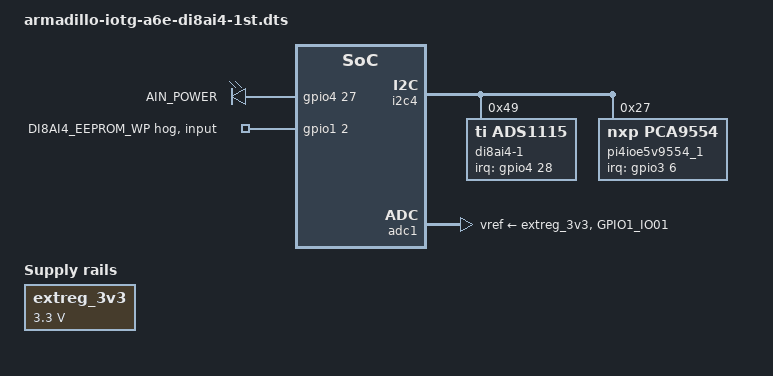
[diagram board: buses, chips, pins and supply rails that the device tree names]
// SPDX-License-Identifier: (GPL-2.0 OR MIT)
/*
 * Copyright (C) 2023 Atmark Techno, Inc. All Rights Reserved.
 */

/dts-v1/;
/plugin/;

#include "imx6ull-pinfunc.h"
#include <dt-bindings/interrupt-controller/irq.h>
#include <dt-bindings/gpio/gpio.h>

&{/} {
	aliases {
		/* Aliases are represented by a string to a full node path.
		 * For overlays, specifying &adc2 will incorrectly result in a path
		 * within a fragment, which is not fixed at apply time.
		 * Specify the full path of the merged node directly.
		 */
		gpio6 = "/soc/bus@2100000/i2c@21f8000/gpio@27";
		iio1 = "/soc/bus@2100000/i2c@21f8000/adc@49";
	};

	regulators {
		compatible = "simple-bus";
		#address-cells = <1>;
		#size-cells = <0>;

		extreg_3v3: ext-regulator-3v3 {
				compatible = "regulator-fixed";
				regulator-name = "3V3";
				regulator-min-microvolt = <3300000>;
				regulator-max-microvolt = <3300000>;
				regulator-always-on;
		};
	};

	ain-leds {
		compatible = "gpio-leds";
		pinctrl-names = "default";
		pinctrl-0 = <&pinctrl_gpio_leds_ain>;

		ain_power {
			label = "AIN_POWER";
			gpios = <&gpio4 27 GPIO_ACTIVE_HIGH>;
			retain-state-shutdown;
			retain-state-suspended;
			default-state = "on";
		};

	};
};

&i2c4 {
	#address-cells = <1>;
	#size-cells = <0>;

	adc2: adc@49 {
		compatible = "ti,ads1115";
		reg = <0x49>;
		label = "di8ai4-1";

		#address-cells = <1>;
		#size-cells = <0>;

		#io-channel-cells = <1>;

		pinctrl-names = "default";
		pinctrl-0 = <&pinctrl_adc2>;

		interrupt-parent = <&gpio4>;
		interrupts = <28 IRQ_TYPE_LEVEL_LOW>;

		wakeup-source;

		channel@4 {
			reg = <4>;
			ti,gain = <0>;
			ti,datarate = <4>;
		};

		channel@5 {
			reg = <5>;
			ti,gain = <0>;
			ti,datarate = <4>;
		};

		channel@6 {
			reg = <6>;
			ti,gain = <0>;
			ti,datarate = <4>;
		};

		channel@7 {
			reg = <7>;
			ti,gain = <0>;
			ti,datarate = <4>;
		};
	};

	pi4ioe5v9554_1: gpio@27 {
		pinctrl-names = "default";
		pinctrl-0 = <&pinctrl_pi4ioe5v9554_1>;

		compatible = "nxp,pca9554";
		reg = <0x27>;

		gpio-controller;
		#gpio-cells = <2>;

		interrupt-parent = <&gpio3>;
		interrupts = <6 IRQ_TYPE_LEVEL_LOW>;

		wakeup-source;
	};
};

&adc1 {
	label = "vin-di8ai4";
	pinctrl-names = "default";
	pinctrl-0 = <&pinctrl_adc1_vin>;
	vref-supply = <&extreg_3v3>;
	num-channels = <5>;
	status = "okay";
};

&gpio1 {
	di8ai4_eeprom_wp {
		pinctrl-names = "default";
		pinctrl-0 = <&pinctrl_di8ai4_eeprom_wp>;

		gpio-hog;
		gpios = <2 GPIO_ACTIVE_HIGH>;
		line-name = "DI8AI4_EEPROM_WP";
		input-low;
	};
};

&iomuxc {
	pinctrl_adc1_vin: adc1_vingrp {
		fsl,pins = <
			MX6UL_PAD_GPIO1_IO01__GPIO1_IO01	0xb0 /* VIN_MONITOR */
		>;
	};

	pinctrl_adc2: adc2grp {
		fsl,pins = <
			MX6UL_PAD_CSI_DATA07__GPIO4_IO28	0x1b0b0 /* ADC_INT */
		>;
	};

	pinctrl_pi4ioe5v9554_1: pi4ioe5v9554_1grp {
		fsl,pins = <
			MX6UL_PAD_LCD_DATA01__GPIO3_IO06	0x1b0b0 /* 9554 INT */
		>;
	};

	pinctrl_gpio_leds_ain: gpio_leds_aingrp {
		fsl,pins = <
			MX6UL_PAD_CSI_DATA06__GPIO4_IO27	0x10	/* AIN_POWER */
		>;
	};

	pinctrl_di8ai4_eeprom_wp: di8ai4_eeprom_wpgrp {
		fsl,pins = <
			MX6UL_PAD_GPIO1_IO02__GPIO1_IO02	0x10	/* AIDI_EEPROM_WP */
		>;
	};
};

&pi4ioe5v9554_1 {
	gpio-line-names =
		/* PI4IOE5V9554_1_00 - 03 */ "DI3", "DI4", "DI5", "DI6",
		/* PI4IOE5V9554_1_04 - 07 */ "DI7", "DI8", "DI9", "DI10";
};
